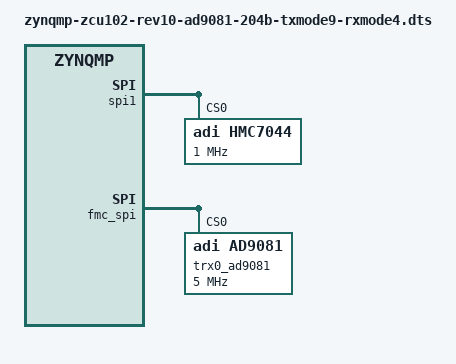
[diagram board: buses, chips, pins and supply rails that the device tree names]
// SPDX-License-Identifier: GPL-2.0
/*
 * Analog Devices AD9081-FMC-EBZ
 * https://wiki.analog.com/resources/eval/user-guides/quadmxfe/quick-start
 * https://wiki.analog.com/resources/tools-software/linux-drivers/iio-mxfe/ad9081
 *
 * hdl_project: <ad9081_fmca_ebz/zcu102>
 * board_revision: <>
 *
 * Copyright (C) 2021 Analog Devices Inc.
 */

#include "zynqmp-zcu102-rev10-ad9081.dts"

// ad9081_204b_txmode_9_rxmode_4: 204B use case with low lane rate
//     * 4Txs / 4Rxs per MxFE
//     * DAC_CLK = 4.8GSPS
//     * ADC_CLK = 2.4GSPS
//     * Tx I/Q Rate: 100 MSPS (Interpolation of 12x4)
//     * Rx I/Q Rate: 25 MSPS (Decimation of 6x16)
//     * DAC JESD204B: Mode 9, L=4, M=8, N=N'=16
//     * ADC JESD204B: Mode 4, L=2, M=8, N=N'=16
//     * DAC-Side JESD204B Lane Rate: 4Gbps
//     * ADC-Side JESD204B Lane Rate: 2Gbps

// HDL Synthesis Parameters:
// JESD_MODE=8B10B
// RX_RATE=2
// RX_JESD_M=8
// RX_JESD_L=2
// RX_JESD_S=1
// RX_JESD_NP=16
// TX_RATE=4
// TX_JESD_M=8
// TX_JESD_L=4
// TX_JESD_S=1
// TX_JESD_NP=16

&axi_ad9081_rx_jesd {
	clocks = <&zynqmp_clk 71>, <&hmc7044 10>, <&axi_ad9081_adxcvr_rx 1>, <&axi_ad9081_adxcvr_rx 0>;
	clock-names = "s_axi_aclk", "device_clk", "link_clk", "lane_clk";
};

&axi_ad9081_tx_jesd {
	clocks = <&zynqmp_clk 71>, <&hmc7044 6>, <&axi_ad9081_adxcvr_tx 1>, <&axi_ad9081_adxcvr_tx 0>;
	clock-names = "s_axi_aclk", "device_clk", "link_clk", "lane_clk";
};

&axi_ad9081_adxcvr_rx {
	adi,sys-clk-select = <XCVR_CPLL>;
	adi,out-clk-select = <XCVR_REFCLK_DIV2>;
};

&axi_ad9081_adxcvr_tx {
	adi,sys-clk-select = <XCVR_QPLL>;
	adi,out-clk-select = <XCVR_REFCLK>;
};

&spi1 {
	status = "okay";

	hmc7044: hmc7044@0 {
		#address-cells = <1>;
		#size-cells = <0>;
		#clock-cells = <1>;
		compatible = "adi,hmc7044";
		reg = <0>;
		spi-max-frequency = <1000000>;

		jesd204-device;
		#jesd204-cells = <2>;
		jesd204-sysref-provider;

		adi,jesd204-max-sysref-frequency-hz = <2000000>; /* 2 MHz */

		/*
		 * There are different versions of the AD9081-FMCA-EBZ & AD9082-FMCA-EBZ
		 * VCXO = 122.880 MHz, XO = 122.880MHz (AD9081-FMC-EBZ & AD9082-FMC-EBZ)
		 * VCXO = 100.000 MHz, XO = 100.000MHz (AD9081-FMC-EBZ-A2 & AD9082-FMC-EBZ-A2)
		 * To determine which board is which, read the freqency printed on the VCXO
		 * or use the fru-dump utility:
		 * #fru-dump -b /sys/bus/i2c/devices/15-0050/eeprom
		 */

		//adi,pll1-clkin-frequencies = <122880000 30720000 0 0>;
		//adi,vcxo-frequency = <122880000>;

		adi,pll1-clkin-frequencies = <100000000 10000000 0 0>;
		adi,vcxo-frequency = <100000000>;

		adi,pll1-loop-bandwidth-hz = <200>;

		adi,pll2-output-frequency = <2400000000>;

		adi,sysref-timer-divider = <1024>;
		adi,pulse-generator-mode = <0>;

		adi,clkin0-buffer-mode  = <0x07>;
		adi,clkin1-buffer-mode  = <0x07>;
		adi,oscin-buffer-mode = <0x15>;

		adi,gpi-controls = <0x00 0x00 0x00 0x00>;
		adi,gpo-controls = <0x37 0x33 0x00 0x00>;

		clock-output-names =
		"hmc7044_out0", "hmc7044_out1", "hmc7044_out2",
		"hmc7044_out3", "hmc7044_out4", "hmc7044_out5",
		"hmc7044_out6", "hmc7044_out7", "hmc7044_out8",
		"hmc7044_out9", "hmc7044_out10", "hmc7044_out11",
		"hmc7044_out12", "hmc7044_out13";

		hmc7044_c0: channel@0 {
			reg = <0>;
			adi,extended-name = "CORE_CLK_RX";
			adi,divider = <48>; /* 50 MHz */
			adi,driver-mode = <HMC7044_DRIVER_MODE_LVDS>;

		};
		hmc7044_c2: channel@2 {
			reg = <2>;
			adi,extended-name = "DEV_REFCLK";
			adi,divider = <4>; /* 600 MHz */
			adi,driver-mode = <HMC7044_DRIVER_MODE_LVDS>;
		};
		hmc7044_c3: channel@3 {
			reg = <3>;
			adi,extended-name = "DEV_SYSREF";
			adi,divider = <768>;
			adi,driver-mode = <HMC7044_DRIVER_MODE_LVDS>;
			adi,jesd204-sysref-chan;
		};

		hmc7044_c6: channel@6 {
			reg = <6>;
			adi,extended-name = "CORE_CLK_TX";
			adi,divider = <24>; /* 100 MHz */
			adi,driver-mode = <HMC7044_DRIVER_MODE_LVDS>;
		};

		hmc7044_c8: channel@8 {
			reg = <8>;
			adi,extended-name = "FPGA_REFCLK1";
			adi,divider = <24>; /* 100 MHz */
			adi,driver-mode = <HMC7044_DRIVER_MODE_LVDS>;
		};

		hmc7044_c10: channel@10 {
			reg = <10>;
			adi,extended-name = "CORE_CLK_RX_ALT";
			adi,divider = <48>; /* 50 MHz */
			adi,driver-mode = <HMC7044_DRIVER_MODE_LVDS>;
		};

		hmc7044_c12: channel@12 {
			reg = <12>;
			adi,extended-name = "FPGA_REFCLK2";
			adi,divider = <24>; /* 100 MHz */
			adi,driver-mode = <HMC7044_DRIVER_MODE_LVDS>;
		};
		hmc7044_c13: channel@13 {
			reg = <13>;
			adi,extended-name = "FPGA_SYSREF";
			adi,divider = <768>;
			adi,driver-mode = <HMC7044_DRIVER_MODE_LVDS>;
			adi,jesd204-sysref-chan;
		};
	};
};

&fmc_spi {

	trx0_ad9081: ad9081@0 {
		#address-cells = <1>;
		#size-cells = <0>;
		compatible = "adi,ad9081";
		reg = <0>;
		spi-max-frequency = <5000000>;

		/* Clocks */
		clocks = <&hmc7044 2>;
		clock-names = "dev_clk";

		clock-output-names = "rx_sampl_clk", "tx_sampl_clk";
		#clock-cells = <1>;

		jesd204-device;
		#jesd204-cells = <2>;
		jesd204-top-device = <0>; /* This is the TOP device */
		jesd204-link-ids = <FRAMER_LINK0_RX DEFRAMER_LINK0_TX>;

		jesd204-inputs =
			<&axi_ad9081_core_rx 0 FRAMER_LINK0_RX>,
			<&axi_ad9081_core_tx 0 DEFRAMER_LINK0_TX>;

		adi,tx-dacs {
			#size-cells = <0>;
			#address-cells = <1>;

			adi,dac-frequency-hz = /bits/ 64 <4800000000>;

			adi,main-data-paths {
				#address-cells = <1>;
				#size-cells = <0>;

				adi,interpolation = <12>;

				ad9081_dac0: dac@0 {
					reg = <0>;
					adi,crossbar-select = <&ad9081_tx_fddc_chan0>;
					adi,nco-frequency-shift-hz = /bits/ 64 <1000000000>; /* 1000 MHz */
				};
				ad9081_dac1: dac@1 {
					reg = <1>;
					adi,crossbar-select = <&ad9081_tx_fddc_chan1>;
					adi,nco-frequency-shift-hz = /bits/ 64 <1000000000>; /* 1000 MHz */
				};
				ad9081_dac2: dac@2 {
					reg = <2>;
					adi,crossbar-select = <&ad9081_tx_fddc_chan2>; /* All 4 channels @ dac2 */
					adi,nco-frequency-shift-hz = /bits/ 64 <1000000000>; /* 1000 MHz */
				};
				ad9081_dac3: dac@3 {
					reg = <3>;
					adi,crossbar-select = <&ad9081_tx_fddc_chan3>; /* All 4 channels @ dac2 */
					adi,nco-frequency-shift-hz = /bits/ 64 <1000000000>; /* 1000 MHz */
				};
			};

			adi,channelizer-paths {
				#address-cells = <1>;
				#size-cells = <0>;
				adi,interpolation = <4>;

				ad9081_tx_fddc_chan0: channel@0 {
					reg = <0>;
					adi,gain = <2048>; /* 2048 * 10^(gain_dB/20) */
					adi,nco-frequency-shift-hz =  /bits/ 64 <0>;

				};
				ad9081_tx_fddc_chan1: channel@1 {
					reg = <1>;
					adi,gain = <2048>; /* 2048 * 10^(gain_dB/20) */
					adi,nco-frequency-shift-hz =  /bits/ 64 <0>;

				};
				ad9081_tx_fddc_chan2: channel@2 {
					reg = <2>;
					adi,gain = <2048>; /* 2048 * 10^(gain_dB/20) */
					adi,nco-frequency-shift-hz =  /bits/ 64 <0>;

				};
				ad9081_tx_fddc_chan3: channel@3 {
					reg = <3>;
					adi,gain = <2048>; /* 2048 * 10^(gain_dB/20) */
					adi,nco-frequency-shift-hz =  /bits/ 64 <0>;

				};
			};

			adi,jesd-links {
				#size-cells = <0>;
				#address-cells = <1>;

				ad9081_tx_jesd_l0: link@0 {
					#address-cells = <1>;
					#size-cells = <0>;
					reg = <0>;

					adi,logical-lane-mapping = /bits/ 8 <0 2 7 7 1 7 7 3>;

					adi,link-mode = <9>;			/* JESD Quick Configuration Mode */
					adi,subclass = <1>;			/* JESD SUBCLASS 0,1,2 */
					adi,version = <1>;			/* JESD VERSION 0=204A,1=204B,2=204C */
					adi,dual-link = <0>;			/* JESD Dual Link Mode */

					adi,converters-per-device = <8>;	/* JESD M */
					adi,octets-per-frame = <4>;		/* JESD F */

					adi,frames-per-multiframe = <32>;	/* JESD K */
					adi,converter-resolution = <16>;	/* JESD N */
					adi,bits-per-sample = <16>;		/* JESD NP' */
					adi,control-bits-per-sample = <0>;	/* JESD CS */
					adi,lanes-per-device = <4>;		/* JESD L */
					adi,samples-per-converter-per-frame = <1>; /* JESD S */
					adi,high-density = <1>;			/* JESD HD */

					adi,tpl-phase-adjust = <13>;
				};
			};
		};

		adi,rx-adcs {
			#size-cells = <0>;
			#address-cells = <1>;

			adi,adc-frequency-hz = /bits/ 64 <2400000000>;

			adi,main-data-paths {
				#address-cells = <1>;
				#size-cells = <0>;


				ad9081_adc0: adc@0 {
					reg = <0>;
					adi,decimation = <6>;
					adi,nco-frequency-shift-hz = /bits/ 64 <1000000000>; /* 1000 MHz */
					adi,nco-mode = <AD9081_ADC_NCO_VIF>;
					//adi,crossbar-select = <&ad9081_rx_fddc_chan0>, <&ad9081_rx_fddc_chan2>; /* Static for now */
				};
				ad9081_adc1: adc@1 {
					reg = <1>;
					adi,decimation = <6>;
					adi,nco-frequency-shift-hz = /bits/ 64 <1000000000>; /* 1000 MHz */
					adi,nco-mode = <AD9081_ADC_NCO_VIF>;
					//adi,crossbar-select = <&ad9081_rx_fddc_chan1>, <&ad9081_rx_fddc_chan3>; /* Static for now */
				};
				ad9081_adc2: adc@2 {
					reg = <2>;
					adi,decimation = <6>;
					adi,nco-frequency-shift-hz = /bits/ 64 <1000000000>; /* 1000 MHz */
					adi,nco-mode = <AD9081_ADC_NCO_VIF>;
					//adi,crossbar-select = <&ad9081_rx_fddc_chan4>, <&ad9081_rx_fddc_chan6>; /* Static for now */
				};
				ad9081_adc3: adc@3 {
					reg = <3>;
					adi,decimation = <6>;
					adi,nco-frequency-shift-hz = /bits/ 64 <1000000000>; /* 1000 MHz */
					adi,nco-mode = <AD9081_ADC_NCO_VIF>;
					//adi,crossbar-select = <&ad9081_rx_fddc_chan5>, <&ad9081_rx_fddc_chan7>; /* Static for now */
				};
			};

			adi,channelizer-paths {
				#address-cells = <1>;
				#size-cells = <0>;

				ad9081_rx_fddc_chan0: channel@0 {
					reg = <0>;
					adi,decimation = <16>;
					adi,gain = <2048>; /* 2048 * 10^(gain_dB/20) */
					adi,nco-frequency-shift-hz =  /bits/ 64 <0>;

				};
				ad9081_rx_fddc_chan1: channel@1 {
					reg = <1>;
					adi,decimation = <16>;
					adi,gain = <2048>; /* 2048 * 10^(gain_dB/20) */
					adi,nco-frequency-shift-hz =  /bits/ 64 <0>;

				};
				ad9081_rx_fddc_chan4: channel@4 {
					reg = <4>;
					adi,decimation = <16>;
					adi,gain = <2048>; /* 2048 * 10^(gain_dB/20) */
					adi,nco-frequency-shift-hz =  /bits/ 64 <0>;

				};
				ad9081_rx_fddc_chan5: channel@5 {
					reg = <5>;
					adi,decimation = <16>;
					adi,gain = <2048>; /* 2048 * 10^(gain_dB/20) */
					adi,nco-frequency-shift-hz =  /bits/ 64 <0>;

				};
			};

			adi,jesd-links {
				#size-cells = <0>;
				#address-cells = <1>;

				ad9081_rx_jesd_l0: link@0 {
					reg = <0>;
					adi,converter-select =
						<&ad9081_rx_fddc_chan0 FDDC_I>, <&ad9081_rx_fddc_chan0 FDDC_Q>,
						<&ad9081_rx_fddc_chan1 FDDC_I>, <&ad9081_rx_fddc_chan1 FDDC_Q>,
						<&ad9081_rx_fddc_chan4 FDDC_I>, <&ad9081_rx_fddc_chan4 FDDC_Q>,
						<&ad9081_rx_fddc_chan5 FDDC_I>, <&ad9081_rx_fddc_chan5 FDDC_Q>;

					adi,logical-lane-mapping = /bits/ 8 <2 0 7 7 7 7 3 1>;

					adi,link-mode = <4>;			/* JESD Quick Configuration Mode */
					adi,subclass = <1>;			/* JESD SUBCLASS 0,1,2 */
					adi,version = <1>;			/* JESD VERSION 0=204A,1=204B,2=204C */
					adi,dual-link = <0>;			/* JESD Dual Link Mode */

					adi,converters-per-device = <8>;	/* JESD M */
					adi,octets-per-frame = <8>;		/* JESD F */

					adi,frames-per-multiframe = <32>;	/* JESD K */
					adi,converter-resolution = <16>;	/* JESD N */
					adi,bits-per-sample = <16>;		/* JESD NP' */
					adi,control-bits-per-sample = <0>;	/* JESD CS */
					adi,lanes-per-device = <2>;		/* JESD L */
					adi,samples-per-converter-per-frame = <1>; /* JESD S */
					adi,high-density = <1>;			/* JESD HD */
				};
			};
		};
	};
};

&axi_ad9081_core_tx {
	single-shot-output-gpios = <&gpio 139 0>;
};
